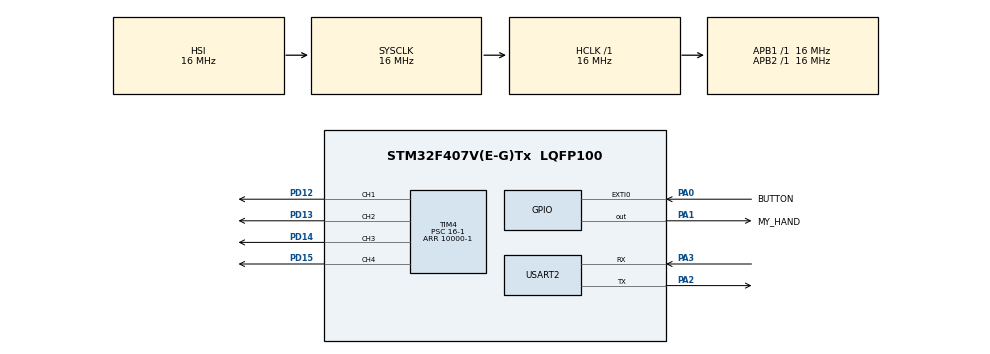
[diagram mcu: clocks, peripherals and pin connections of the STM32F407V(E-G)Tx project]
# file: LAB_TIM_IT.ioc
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Mcu.Family=STM32F4
Mcu.Name=STM32F407V(E-G)Tx
Mcu.Package=LQFP100
NVIC.PriorityGroup=NVIC_PRIORITYGROUP_4
NVIC.TIM4_IRQn=true\:0\:0\:false\:false\:true\:true\:true\:true
NVIC.USART2_IRQn=true\:0\:0\:false\:false\:true\:true\:true\:true
PA0-WKUP.GPIO_Label=BUTTON
PA0-WKUP.Signal=GPXTI0
PA1.GPIO_Label=MY_HAND
PA1.Signal=GPIO_Output
PA13.Mode=Serial_Wire
PA13.Signal=SYS_JTMS-SWDIO
PA14.Mode=Serial_Wire
PA14.Signal=SYS_JTCK-SWCLK
PA2.Mode=Asynchronous
PA2.Signal=USART2_TX
PA3.Mode=Asynchronous
PA3.Signal=USART2_RX
PD12.Signal=S_TIM4_CH1
PD13.Signal=S_TIM4_CH2
PD14.Signal=S_TIM4_CH3
PD15.Signal=S_TIM4_CH4
ProjectManager.HeapSize=0x200
ProjectManager.StackSize=0x400
ProjectManager.TargetToolchain=MDK-ARM V5.32
RCC.AHBFreq_Value=16000000
RCC.APB1Freq_Value=16000000
RCC.APB2Freq_Value=16000000
RCC.CortexFreq_Value=16000000
RCC.HSE_VALUE=25000000
RCC.HSI_VALUE=16000000
RCC.LSE_VALUE=32768
RCC.SYSCLKFreq_VALUE=16000000
RCC.VCOOutputFreq_Value=192000000
SH.S_TIM4_CH1.0=TIM4_CH1,PWM Generation1 CH1
SH.S_TIM4_CH2.0=TIM4_CH2,PWM Generation2 CH2
SH.S_TIM4_CH3.0=TIM4_CH3,PWM Generation3 CH3
SH.S_TIM4_CH4.0=TIM4_CH4,PWM Generation4 CH4
TIM4.Channel-PWM\ Generation1\ CH1=TIM_CHANNEL_1
TIM4.Channel-PWM\ Generation2\ CH2=TIM_CHANNEL_2
TIM4.Channel-PWM\ Generation3\ CH3=TIM_CHANNEL_3
TIM4.Channel-PWM\ Generation4\ CH4=TIM_CHANNEL_4
TIM4.Period=10000-1
TIM4.Prescaler=16-1
USART2.VirtualMode=VM_ASYNC
VP_TIM4_VS_ClockSourceINT.Mode=Internal
VP_TIM4_VS_OPM.Mode=OPM_bit
board=custom

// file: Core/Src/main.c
/* USER CODE BEGIN Header */
/**
  ******************************************************************************
  * @file           : main.c
  * @brief          : Main program body
  ******************************************************************************
  * @attention
  *
  * Copyright (c) 2022 STMicroelectronics.
  * All rights reserved.
  *
  * This software is licensed under terms that can be found in the LICENSE file
  * in the root directory of this software component.
  * If no LICENSE file comes with this software, it is provided AS-IS.
  *
  ******************************************************************************
  */
/* USER CODE END Header */
#include "main.h"
#include "tim.h"
#include "usart.h"
#include "gpio.h"

/* USER CODE BEGIN Includes */
#include <stdio.h>
#ifdef __GNUC__
/* With GCC/RAISONANCE, small printf (option LD Linker->Libraries->Small printf
   set to 'Yes') calls __io_putchar() */
#define PUTCHAR_PROTOTYPE int __io_putchar(int ch)
#else
#define PUTCHAR_PROTOTYPE int fputc(int ch, FILE *f)
#endif /* __GNUC__ */
/* USER CODE END Includes */

/* USER CODE BEGIN PV */
#define MASS_SIZE 100
uint32_t mass[MASS_SIZE] = {0};
uint32_t mass_index = 0;
/* USER CODE END PV */

void SystemClock_Config(void);

/* USER CODE BEGIN 0 */
PUTCHAR_PROTOTYPE
{
  /* Place your implementation of fputc here */
  /* e.g. write a character to the EVAL_COM1 and Loop until the end of transmission */
  HAL_UART_Transmit(&huart2, (uint8_t *)&ch, 1, 0xFFFF);

  return ch;
}
/* USER CODE END 0 */

int main(void)
{

  /* MCU Configuration--------------------------------------------------------*/

  /* Reset of all peripherals, Initializes the Flash interface and the Systick. */
  HAL_Init();

  /* Configure the system clock */
  SystemClock_Config();

  /* Initialize all configured peripherals */
  MX_GPIO_Init();
  MX_TIM4_Init();
  MX_USART2_UART_Init();
  /* USER CODE BEGIN 2 */
  uint8_t index = 0;
  for (index = 0; index < MASS_SIZE; index ++)
  {
    mass[index] = index * 100;
  }
//  transfer_mass(&mass[0], MASS_SIZE);
  printf("Start PWM LED\r\n");
  HAL_TIM_Base_Start_IT(&htim4);
  HAL_TIM_PWM_Start(&htim4, TIM_CHANNEL_1);
  HAL_TIM_PWM_Start(&htim4, TIM_CHANNEL_2);
  HAL_TIM_PWM_Start(&htim4, TIM_CHANNEL_3);
  HAL_TIM_PWM_Start(&htim4, TIM_CHANNEL_4);
  /* USER CODE END 2 */

  /* Infinite loop */
  while (1)
  {

  }
}

void SystemClock_Config(void)
{
  RCC_OscInitTypeDef RCC_OscInitStruct = {0};
  RCC_ClkInitTypeDef RCC_ClkInitStruct = {0};

  /** Configure the main internal regulator output voltage
  */
  __HAL_RCC_PWR_CLK_ENABLE();
  __HAL_PWR_VOLTAGESCALING_CONFIG(PWR_REGULATOR_VOLTAGE_SCALE1);

  /** Initializes the RCC Oscillators according to the specified parameters
  * in the RCC_OscInitTypeDef structure.
  */
  RCC_OscInitStruct.OscillatorType = RCC_OSCILLATORTYPE_HSI;
  RCC_OscInitStruct.HSIState = RCC_HSI_ON;
  RCC_OscInitStruct.HSICalibrationValue = RCC_HSICALIBRATION_DEFAULT;
  RCC_OscInitStruct.PLL.PLLState = RCC_PLL_NONE;
  if (HAL_RCC_OscConfig(&RCC_OscInitStruct) != HAL_OK)
  {
    Error_Handler();
  }

  /** Initializes the CPU, AHB and APB buses clocks
  */
  RCC_ClkInitStruct.ClockType = RCC_CLOCKTYPE_HCLK|RCC_CLOCKTYPE_SYSCLK
                              |RCC_CLOCKTYPE_PCLK1|RCC_CLOCKTYPE_PCLK2;
  RCC_ClkInitStruct.SYSCLKSource = RCC_SYSCLKSOURCE_HSI;
  RCC_ClkInitStruct.AHBCLKDivider = RCC_SYSCLK_DIV1;
  RCC_ClkInitStruct.APB1CLKDivider = RCC_HCLK_DIV1;
  RCC_ClkInitStruct.APB2CLKDivider = RCC_HCLK_DIV1;

  if (HAL_RCC_ClockConfig(&RCC_ClkInitStruct, FLASH_LATENCY_0) != HAL_OK)
  {
    Error_Handler();
  }
}

/* USER CODE BEGIN 4 */
void HAL_TIM_PeriodElapsedCallback(TIM_HandleTypeDef *htim)
{
  __HAL_TIM_SetCompare(&htim4, TIM_CHANNEL_1, mass[mass_index]);
  __HAL_TIM_SetCompare(&htim4, TIM_CHANNEL_2, mass[mass_index]);
  __HAL_TIM_SetCompare(&htim4, TIM_CHANNEL_3, mass[mass_index]);
  __HAL_TIM_SetCompare(&htim4, TIM_CHANNEL_4, mass[mass_index]);
  if (mass_index % 10 == 0)
  {
    printf("Power Led = %i %% \r", mass_index);
  }
  mass_index ++;
  if (mass_index >= MASS_SIZE)
  {
    mass_index = 0;
  }
}
/* USER CODE END 4 */

void Error_Handler(void)
{
  __disable_irq();
  while (1)
  {
  }
}
